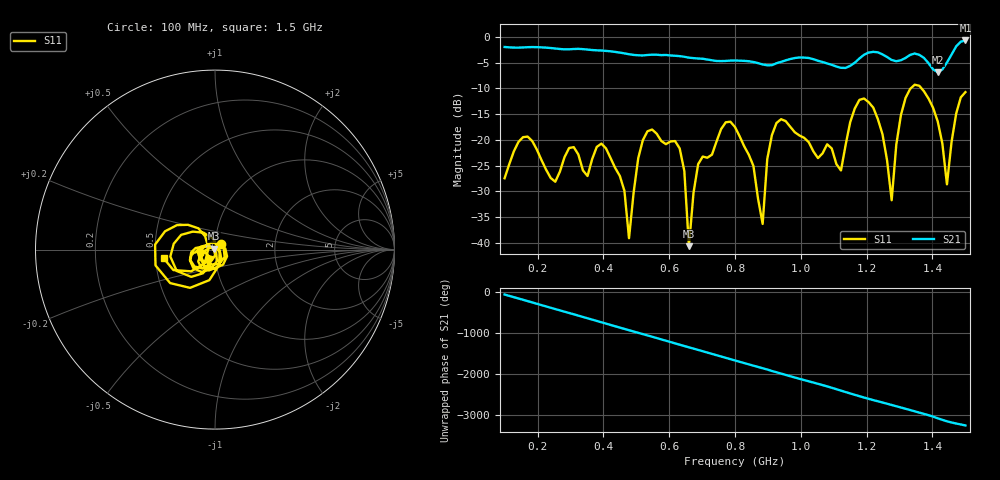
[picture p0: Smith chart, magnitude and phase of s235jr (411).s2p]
! NanoVNA-App
! Date: 2025-09-25 15:07:21
! Start: 100MHz Stop: 1,5GHz Points: 101
! S-Parameter data: F S11 S21 S12 S22
# Hz S RI R 50
!  Frequency  S11_Real  S11_Imag  S21_Real  S21_Imag  S12_Real  S12_Imag  S22_Real  S22_Imag
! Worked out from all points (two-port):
!   101 points, 100 MHz to 1.5 GHz, reference 50 ohm
!   highest |S21| = -0.69 dB at 1.5 GHz (marker M1); lowest = -6.8 dB at 1.416 GHz (marker M2)
!   |S21| within 3 dB of the highest: start of sweep to 623.1 MHz; 1.188 GHz to 1.256 GHz (68.33 MHz wide, 5.59 % of centre) (the widest 2 of 4)
!   lowest |S11| = -40.7 dB at 660 MHz (marker M3), VSWR 1.02, Z = 49.3 + j0.569 ohm
!   |S11| at or under -10 dB: start of sweep to 1.334 GHz; 1.367 GHz to end of sweep
!   S12 and S22 are empty: the file has one direction only
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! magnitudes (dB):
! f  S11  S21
! 100 MHz  -27.5  -2.0
! 170 MHz  -19.4  -2.0
! 338 MHz  -25.9  -2.4
! 408 MHz  -21.7  -2.7
! 478 MHz  -39.1  -3.4
! 520 MHz  -20.1  -3.6
! 576 MHz  -20.2  -3.5
! 632 MHz  -21.7  -3.7
! 660 MHz  -40.7  -4.0
! 688 MHz  -24.7  -4.2
! 800 MHz  -17.5  -4.6
! 884 MHz  -36.3  -5.4
! 926 MHz  -16.7  -5.1
! 1.038 GHz  -22.2  -4.3
! 1.122 GHz  -26.0  -6.0
! 1.192 GHz  -12.0  -3.5
! 1.248 GHz  -18.9  -3.4
! 1.276 GHz  -31.7  -4.5
! 1.332 GHz  -10.1  -3.5
! 1.416 GHz  -16.4  -6.8
! 1.444 GHz  -28.7  -5.0
! 1.5 GHz  -10.7  -0.7
